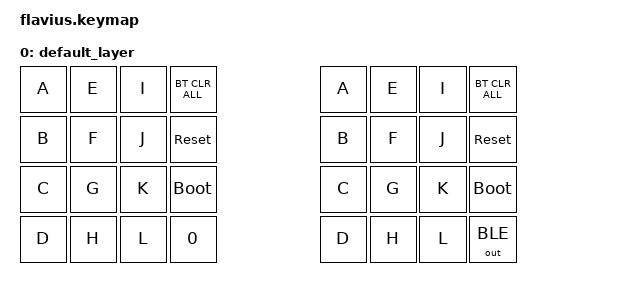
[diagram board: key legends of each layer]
#include <behaviors.dtsi>
#include <dt-bindings/zmk/keys.h>
#include <dt-bindings/zmk/bt.h>
#include <dt-bindings/zmk/outputs.h>

/ {
    keymap {
        compatible = "zmk,keymap";

        default_layer {
            bindings = <
                &kp A &kp E &kp I &bt BT_CLR_ALL   &kp A &kp E &kp I &bt BT_CLR_ALL   
                &kp B &kp F &kp J &sys_reset       &kp B &kp F &kp J &sys_reset       
                &kp C &kp G &kp K &bootloader      &kp C &kp G &kp K &bootloader      
                &kp D &kp H &kp L &kp NUMBER_0     &kp D &kp H &kp L &out OUT_BLE    
                >;
        };
    };  
};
